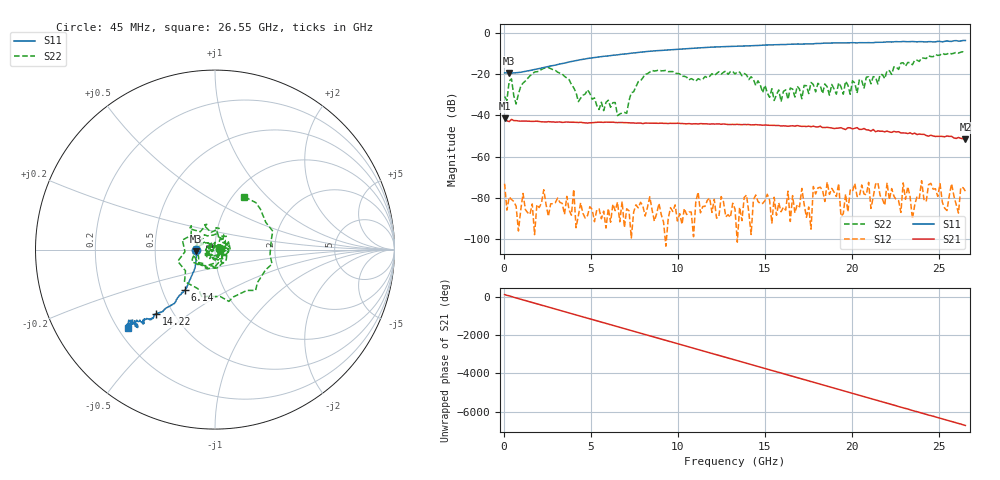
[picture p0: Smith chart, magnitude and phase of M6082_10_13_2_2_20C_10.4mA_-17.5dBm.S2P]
!  2-Port S-parameters saved by WinCal
! VAR MeasName=S-Parameters (CALIBRATED_DATA) read from VNA (C)
! VAR MeasDate=10/16/2015 2:41:28 PM
! VAR NAME=M6082_10_13_2_2_20C_10.4mA_-17.5dBm
! VAR FILENAME=M6082_10_13_2_2_20C_10.4mA_-17.5dBm.S2P
! VAR DATE=10/16/2015 2:41:28 PM
! VAR PHYS_PORTS=2,1
! VAR ObjTypeName=DATASET
! VAR IndexType=Frequency
# Hz S DB R 50
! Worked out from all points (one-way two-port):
!   201 points, 45 MHz to 26.55 GHz, reference 50 ohm
!   highest |S21| = -41.37 dB at 45 MHz (marker M1); lowest = -51.7 dB at 26.55 GHz (marker M2)
!   lowest |S11| = -19.5 dB at 310 MHz (marker M3), VSWR 1.24, Z = 40.5 - j0.78 ohm
!   |S11| at or under -10 dB: start of sweep to 7.214 GHz
!   |S22| runs from -40.2 to -9.2 dB; largest |S21 - S12| = 0.0086
!   S11 on the Smith chart (normalised r, x): 45 MHz: 0.81, -0.00; 6.14 GHz: 0.65, -0.32; 14.22 GHz: 0.40, -0.38; 26.55 GHz: 0.24, -0.36
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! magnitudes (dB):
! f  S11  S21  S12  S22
! 45 MHz  -19.4  -41.4  -73.2  -30.9
! 310 MHz  -19.5  -43.0  -79.6  -23.3
! 707.5 MHz  -19.4  -42.6  -84.1  -34.5
! 2.43 GHz  -16.6  -43.3  -83.3  -17.0
! 4.55 GHz  -12.9  -43.6  -87.5  -30.3
! 6.14 GHz  -11.1  -43.4  -91.8  -36.1
! 7.067 GHz  -10.2  -43.6  -85.3  -39.0
! 7.73 GHz  -9.5  -43.8  -84.9  -23.7
! 8.922 GHz  -8.6  -43.9  -82.8  -18.0
! 13.29 GHz  -6.5  -44.5  -85.5  -20.0
! 14.22 GHz  -6.3  -44.6  -97.8  -21.3
! 15.95 GHz  -5.7  -45.2  -86.8  -33.4
! 17.8 GHz  -5.3  -45.3  -74.5  -25.1
! 20.32 GHz  -4.9  -46.0  -79.4  -29.2
! 21.91 GHz  -4.5  -48.0  -83.7  -22.3
! 22.04 GHz  -4.4  -47.7  -72.7  -18.3
! 22.17 GHz  -4.4  -48.1  -81.0  -18.4
! 22.97 GHz  -4.2  -48.6  -72.8  -14.5
! 23.89 GHz  -4.3  -49.1  -80.2  -13.9
! 24.03 GHz  -4.3  -49.2  -71.7  -12.1
! 24.16 GHz  -4.4  -49.2  -80.8  -12.3
! 26.55 GHz  -3.7  -51.7  -76.8  -9.5
